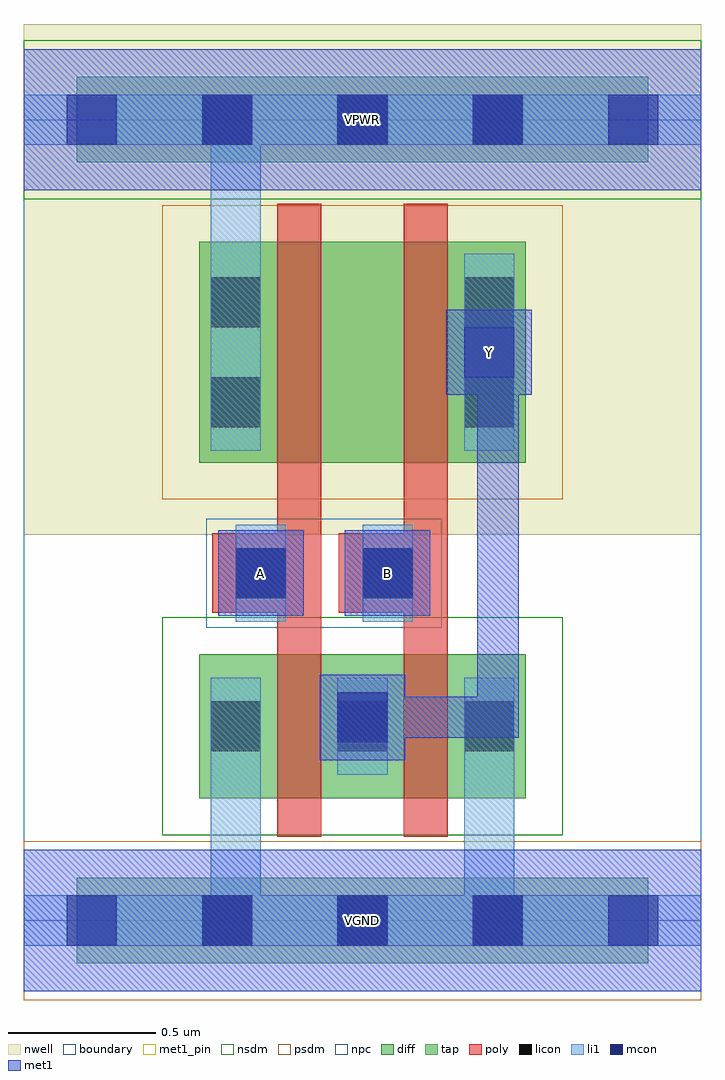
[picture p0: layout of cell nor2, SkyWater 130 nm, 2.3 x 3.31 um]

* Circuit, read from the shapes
.subckt nor2 A B VGND VPWR Y
XM1 Y A VGND VGND sky130_fd_pr__nfet_01v8 w=0.49 l=0.15
XM2 VGND B Y VGND sky130_fd_pr__nfet_01v8 w=0.49 l=0.15
XM3 n1 A VPWR VPWR sky130_fd_pr__pfet_01v8 w=0.75 l=0.15
XM4 Y B n1 VPWR sky130_fd_pr__pfet_01v8 w=0.75 l=0.15
.ends

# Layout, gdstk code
import gdstk
lib = gdstk.Library(unit=1e-6, precision=1e-09)
def R(c, l, rs):  # rectangles x0, y0, x1, y1
    for r in rs: c.add(gdstk.rectangle(r[:2], r[2:], *l))
def A(c, l, x, y, w, h, nx, ny, dx, dy):  # array of equal rectangles
    R(c, l, [(x+i*dx, y+j*dy, x+i*dx+w, y+j*dy+h) for i in range(nx) for j in range(ny)])
nwell = (64, 20)
diff = (65, 20)
tap = (65, 44)
poly = (66, 20)
licon = (66, 44)
li1 = (67, 20)
mcon = (67, 44)
met1_pin = (68, 16)
met1 = (68, 20)
nsdm = (93, 44)
psdm = (94, 20)
npc = (95, 20)
boundary = (235, 4)

nor2 = lib.new_cell('nor2')
R(nor2, nwell, [(0,1.31,2.3,3.045)])
R(nor2, diff, [(0.595,0.415,1.705,0.905), (0.595,1.555,1.705,2.305)])
R(nor2, tap, [(0.18,-0.145,2.12,0.145), (0.18,2.575,2.12,2.865)])
R(nor2, poly, [(0.86,0.285,1.01,2.435), (1.29,0.285,1.44,2.435), (0.64,1.045,0.97,1.315), (1.07,1.045,1.4,1.315)])
A(nor2, licon, 0.605, -0.085, 0.17, 0.17, 3, 2, 0.46, 2.72)
A(nor2, licon, 0.635, 0.575, 0.17, 0.17, 3, 1, 0.43, 0)
R(nor2, licon, [(0.72,1.095,0.89,1.265), (1.15,1.095,1.32,1.265), (0.635,1.675,0.805,1.845), (1.495,1.675,1.665,1.845), (0.635,2.015,0.805,2.185), (1.495,2.015,1.665,2.185)])
A(nor2, li1, 0.635, 0.495, 0.17, 0.33, 3, 1, 0.43, 0)
R(nor2, li1, [(0,-0.085,2.3,0.085), (0.635,-0.085,0.805,0.825), (1.495,-0.085,1.665,0.825), (0.72,1.015,0.89,1.345), (1.15,1.015,1.32,1.345), (0.635,1.595,0.805,2.265), (0.635,1.595,0.805,2.805), (1.495,1.595,1.665,2.265), (0,2.635,2.3,2.805)])
A(nor2, mcon, 0.145, -0.085, 0.17, 0.17, 5, 2, 0.46, 2.72)
R(nor2, mcon, [(1.065,0.605,1.235,0.775), (0.72,1.095,0.89,1.265), (1.15,1.095,1.32,1.265), (1.495,1.845,1.665,2.015)])
R(nor2, met1_pin, [(0,-0.24,2.3,0.24), (0.66,1.035,0.95,1.325), (1.09,1.035,1.38,1.325), (1.435,1.785,1.725,2.075), (0,2.48,2.3,2.96)])
R(nor2, met1, [(0,-0.24,2.3,0.24), (1.005,0.545,1.295,0.835), (1.08,0.62,1.68,0.76), (1.54,0.62,1.68,2.025), (0.66,1.035,0.95,1.325), (1.09,1.035,1.38,1.325), (1.435,1.785,1.725,2.075), (1.54,1.885,1.68,2.025), (0,2.48,2.3,2.96)])
R(nor2, nsdm, [(0.47,0.29,1.83,1.03), (0,2.45,2.3,2.99)])
R(nor2, psdm, [(0,-0.27,2.3,0.27), (0.47,1.43,1.83,2.43)])
R(nor2, npc, [(0.62,0.995,1.42,1.365)])
R(nor2, boundary, [(0,0,2.3,2.72)])
nor2.add(gdstk.Label('A', (0.805,1.18), layer=68, texttype=5))
nor2.add(gdstk.Label('B', (1.235,1.18), layer=68, texttype=5))
nor2.add(gdstk.Label('Y', (1.58,1.93), layer=68, texttype=5))
nor2.add(gdstk.Label('VPWR', (1.15,2.72), layer=68, texttype=5))
nor2.add(gdstk.Label('VGND', (1.15,0), layer=68, texttype=5))
nor2.add(gdstk.Label('A', (0.805,1.18), layer=68, texttype=16))
nor2.add(gdstk.Label('B', (1.235,1.18), layer=68, texttype=16))
nor2.add(gdstk.Label('Y', (1.58,1.93), layer=68, texttype=16))
nor2.add(gdstk.Label('VPWR', (1.15,2.72), layer=68, texttype=16))
nor2.add(gdstk.Label('VGND', (1.15,0), layer=68, texttype=16))

lib.write_gds('nor2.gds')
